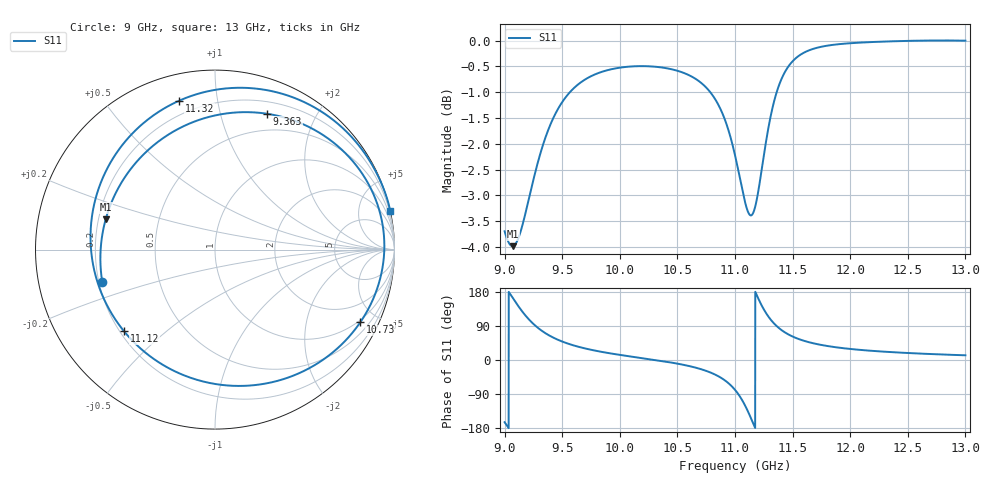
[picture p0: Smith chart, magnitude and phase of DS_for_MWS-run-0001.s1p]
! TOUCHSTONE file generated by CST DESIGN STUDIO
! Date and time: Tue Feb  4 18:27:18 2025
! Project name: C:\Work\MatlabApps\UnitCellOptimizationMatlab\CST\unitcell.cst
! Tree item: Tasks\Sweep1\SPara1\S-Parameters
! Header version: 2024
! Port assignment regex: !\s*Touchstone port\s*([0-9]+)\s*=\s*(CST MWS port|CST DES external port|CST DES block port)\s*(.+)\s* \(\"(.*)\"\)(\s*mode\s*([0-9]+))?.*
! Touchstone port assignment:
! Touchstone port 1 = CST DES external port 1 ("")
# GHz S MA R 50
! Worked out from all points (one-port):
!   4001 points, 9 GHz to 13 GHz, reference 50 ohm
!   lowest |S11| = -4.0 dB at 9.069 GHz (marker M1), VSWR 4.43, Z = 11.5 + j6.43 ohm
!   |S11| at or under -10 dB: nowhere
!   S11 on the Smith chart (normalised r, x): 9 GHz: 0.21, -0.13; 9.363 GHz: 0.32, +1.40; 10.73 GHz: 0.90, -4.05; 11.12 GHz: 0.22, -0.37; 11.32 GHz: 0.13, +0.78; 13 GHz: 0.01, +9.20
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9  0.6533 -164.1
9.069  0.632 164.6
9.141  0.6541 132.9
9.207  0.6997 108.4
9.278  0.7542 87.6
9.363  0.8104 69.1
9.5  0.8717 48.7
9.709  0.9182 29.7
10  0.9412 13.5
10.5  0.9348 -9.6
10.729  0.9052 -26.5
10.813  0.8825 -36.4
10.883  0.8539 -47.8
10.944  0.8181 -61.4
11  0.7743 -78.7
11.062  0.7179 -105.9
11.116  0.6811 -138.1
11.161  0.682 -169.4
11.203  0.7153 161.6
11.261  0.7875 128.0
11.318  0.8532 103.5
11.407  0.9196 78.3
11.5  0.9548 61.9
11.588  0.9719 51.7
11.695  0.9828 43.1
12  0.994 29.2
12.5  0.9992 18.5
13  0.9997 12.4
